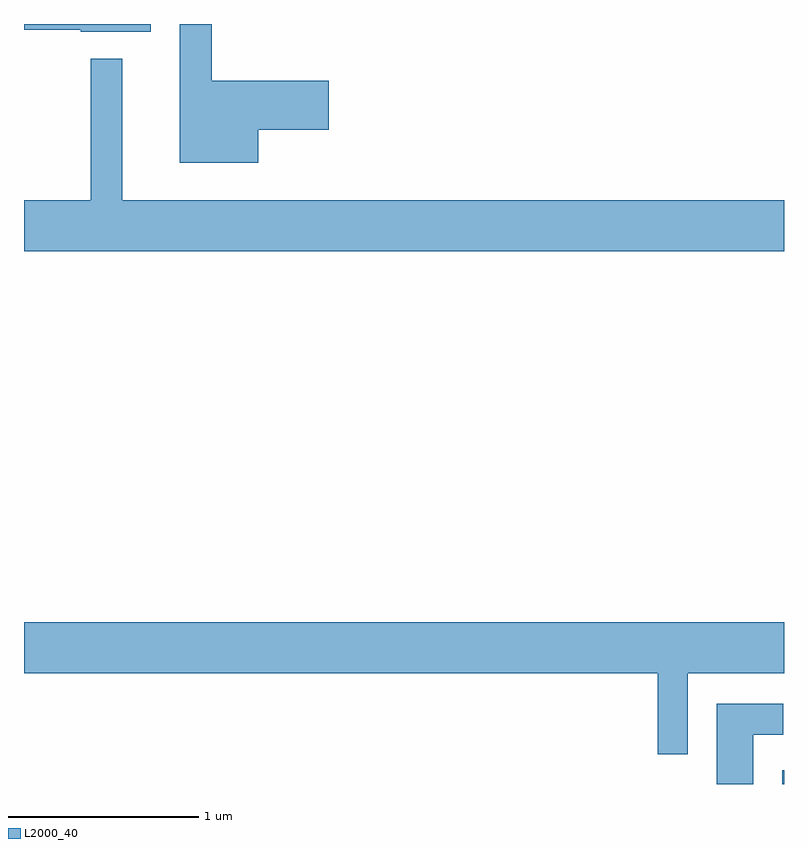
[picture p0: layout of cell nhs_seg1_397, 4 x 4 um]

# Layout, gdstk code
import gdstk
lib = gdstk.Library(unit=1e-6, precision=1e-09)
def R(c, l, rs):  # rectangles x0, y0, x1, y1
    for r in rs: c.add(gdstk.rectangle(r[:2], r[2:], *l))
def P(c, l, *ps):  # polygons
    for p in ps: c.add(gdstk.Polygon(p, *l))
L2000_40 = (2000, 40)

nhs_seg1_397 = lib.new_cell('nhs_seg1_397')
R(nhs_seg1_397, L2000_40, [(201.601,845.712,201.611,845.784)])
P(nhs_seg1_397, L2000_40, [(198.844,849.156),(199.214,849.156),(199.214,849.414),(198.599,849.414),(198.599,849.712),(198.431,849.712),(198.431,848.981),(198.844,848.981)],
  [(198.279,849.712),(197.611,849.712),(197.611,849.681),(197.91,849.681),(197.91,849.671),(198.279,849.671)],
  [(201.611,848.784),(198.129,848.784),(198.129,849.528),(197.961,849.528),(197.961,848.784),(197.611,848.784),(197.611,848.516),(201.611,848.516)],
  [(201.104,846.296),(201.611,846.296),(201.611,846.564),(197.611,846.564),(197.611,846.296),(200.946,846.296),(200.946,845.868),(201.104,845.868)],
  [(201.449,845.971),(201.608,845.971),(201.608,846.134),(201.256,846.134),(201.256,845.712),(201.449,845.712)])

lib.write_gds('nhs_seg1_397.gds')
